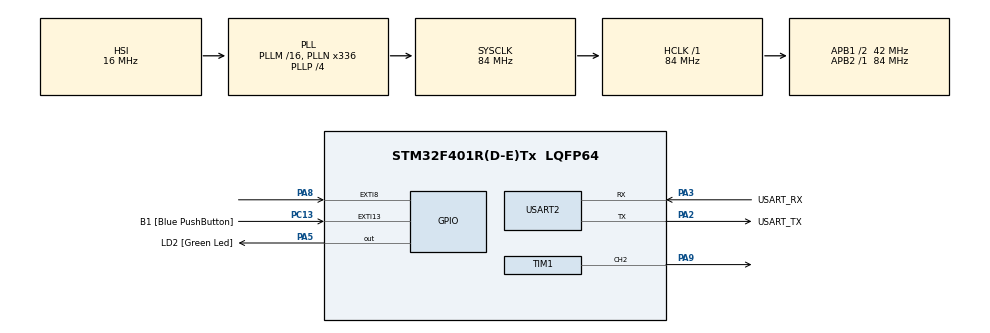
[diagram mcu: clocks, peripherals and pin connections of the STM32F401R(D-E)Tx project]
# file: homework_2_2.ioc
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Mcu.Family=STM32F4
Mcu.Name=STM32F401R(D-E)Tx
Mcu.Package=LQFP64
NVIC.EXTI9_5_IRQn=true\:0\:0\:false\:false\:true\:true\:true\:true
NVIC.PriorityGroup=NVIC_PRIORITYGROUP_0
NVIC.TIM2_IRQn=true\:0\:0\:false\:false\:true\:true\:true\:true
PA13.GPIO_Label=TMS
PA13.Mode=Serial_Wire
PA13.Signal=SYS_JTMS-SWDIO
PA14.GPIO_Label=TCK
PA14.Mode=Serial_Wire
PA14.Signal=SYS_JTCK-SWCLK
PA2.GPIO_Label=USART_TX
PA2.GPIO_Mode=GPIO_MODE_AF_PP
PA2.GPIO_PuPd=GPIO_NOPULL
PA2.GPIO_Speed=GPIO_SPEED_FREQ_LOW
PA2.Mode=Asynchronous
PA2.Signal=USART2_TX
PA3.GPIO_Label=USART_RX
PA3.GPIO_Mode=GPIO_MODE_AF_PP
PA3.GPIO_PuPd=GPIO_NOPULL
PA3.GPIO_Speed=GPIO_SPEED_FREQ_LOW
PA3.Mode=Asynchronous
PA3.Signal=USART2_RX
PA5.GPIO_Label=LD2 [Green Led]
PA5.GPIO_Mode=GPIO_MODE_OUTPUT_PP
PA5.GPIO_PuPd=GPIO_NOPULL
PA5.GPIO_Speed=GPIO_SPEED_FREQ_LOW
PA5.Signal=GPIO_Output
PA8.Signal=GPXTI8
PA9.Signal=S_TIM1_CH2
PB3.GPIO_Label=SWO
PB3.Signal=SYS_JTDO-SWO
PC13-ANTI_TAMP.GPIO_Label=B1 [Blue PushButton]
PC13-ANTI_TAMP.GPIO_ModeDefaultEXTI=GPIO_MODE_IT_FALLING
PC13-ANTI_TAMP.GPIO_PuPd=GPIO_NOPULL
PC13-ANTI_TAMP.Signal=GPXTI13
PC14-OSC32_IN.Mode=LSE-External-Oscillator
PC14-OSC32_IN.Signal=RCC_OSC32_IN
PC15-OSC32_OUT.Mode=LSE-External-Oscillator
PC15-OSC32_OUT.Signal=RCC_OSC32_OUT
PH0\ -\ OSC_IN.Mode=HSE-External-Clock-Source
PH0\ -\ OSC_IN.Signal=RCC_OSC_IN
PH1\ -\ OSC_OUT.Mode=HSE-External-Clock-Source
PH1\ -\ OSC_OUT.Signal=RCC_OSC_OUT
ProjectManager.HeapSize=0x200
ProjectManager.StackSize=0x400
ProjectManager.TargetToolchain=STM32CubeIDE
RCC.48MHZClocksFreq_Value=48000000
RCC.AHBFreq_Value=84000000
RCC.APB1CLKDivider=RCC_HCLK_DIV2
RCC.APB1Freq_Value=42000000
RCC.APB1TimFreq_Value=84000000
RCC.APB2Freq_Value=84000000
RCC.APB2TimFreq_Value=84000000
RCC.CortexFreq_Value=84000000
RCC.HCLKFreq_Value=84000000
RCC.HSE_VALUE=8000000
RCC.HSI_VALUE=16000000
RCC.PLLN=336
RCC.PLLP=RCC_PLLP_DIV4
RCC.PLLQ=7
RCC.SYSCLKFreq_VALUE=84000000
RCC.SYSCLKSource=RCC_SYSCLKSOURCE_PLLCLK
RCC.VCOOutputFreq_Value=336000000
SH.S_TIM1_CH2.0=TIM1_CH2,PWM Generation2 CH2
TIM1.Channel-PWM\ Generation2\ CH2=TIM_CHANNEL_2
TIM1.Period=1908
TIM1.Prescaler=99
TIM1.Pulse-PWM\ Generation2\ CH2=954
TIM2.Period=84000
USART2.VirtualMode=VM_ASYNC
VP_TIM2_VS_ClockSourceINT.Mode=Internal
board=NUCLEO-F401RE

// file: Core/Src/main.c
/* USER CODE BEGIN Header */
/**
  ******************************************************************************
  * @file           : main.c
  * @brief          : Main program body
  ******************************************************************************
  * @attention
  *
  * Copyright (c) 2022 STMicroelectronics.
  * All rights reserved.
  *
  * This software is licensed under terms that can be found in the LICENSE file
  * in the root directory of this software component.
  * If no LICENSE file comes with this software, it is provided AS-IS.
  *
  ******************************************************************************
  */
/* USER CODE END Header */
#include "main.h"

/* USER CODE BEGIN PTD */
struct note{
  int tone_Period;
  int tone_Pulse;
  int duration;
};

typedef enum {false, true} bool;
/* USER CODE END PTD */

/* USER CODE BEGIN PD */
#define _DO     3205, 1602
#define _DO_D   3031, 1515
#define _RE     2856, 1428
#define _RE_D   2700, 1349
#define _MI     2544, 1272
#define _FA     2406, 1202
#define _FA_D   2269, 1134
#define _SOL    2142, 1070
#define _SOL_D  2023, 1011
#define _LA     1908, 954
#define _LA_D   1802, 900
#define _SI     1699, 849
#define STD_DURATION 1200                   //CHANGE THIS PARAMETER IF NEEDED
/* USER CODE END PD */

TIM_HandleTypeDef htim1;
TIM_HandleTypeDef htim2;

UART_HandleTypeDef huart2;

/* USER CODE BEGIN PV */
struct note spartito[/*undefined*/]={       //PUT HERE EACH NOTE OF YOUR SONG

  {_SOL, STD_DURATION/4+STD_DURATION/8},
  {_LA, STD_DURATION/8},
  {_SOL, STD_DURATION/4},
  {_FA, STD_DURATION/4},

  {_MI, STD_DURATION/4},
  {_FA, STD_DURATION/4},
  {_SOL, STD_DURATION/2},

  {_RE, STD_DURATION/4},
  {_MI, STD_DURATION/4},
  {_FA, STD_DURATION/2},

  {_MI, STD_DURATION/4},
  {_FA, STD_DURATION/4},
  {_SOL, STD_DURATION/2},

  {_SOL, STD_DURATION/4+STD_DURATION/8},
  {_LA, STD_DURATION/8},
  {_SOL, STD_DURATION/4},
  {_FA, STD_DURATION/4},

  {_MI, STD_DURATION/4},
  {_FA, STD_DURATION/4},
  {_SOL, STD_DURATION/2},

  {_RE, STD_DURATION/2},
  {_SOL, STD_DURATION/2},

  {_MI, STD_DURATION/4},
  {_DO, STD_DURATION/2+STD_DURATION/4}

};

int length_spartito = sizeof(spartito)/sizeof(spartito[0]);
int ms_elapsed = 0;
bool GO_FLAG = false;
bool STARTUP_OVERFLOW = true;               //every timer startup causes immediate overflow
/* USER CODE END PV */

void SystemClock_Config(void);
static void MX_GPIO_Init(void);
static void MX_USART2_UART_Init(void);
static void MX_TIM1_Init(void);
static void MX_TIM2_Init(void);

/* USER CODE BEGIN 0 */
void melody(struct note note_to_play){
  __HAL_TIM_SET_AUTORELOAD(&htim1, note_to_play.tone_Period);
  __HAL_TIM_SET_COMPARE(&htim1, TIM_CHANNEL_2, note_to_play.tone_Pulse);
  __HAL_TIM_SET_COUNTER(&htim1, 0);
  HAL_TIM_PWM_Start(&htim1, TIM_CHANNEL_2);

  //HAL_Delay(note_to_play.duration);
  ms_elapsed=0;
  __HAL_TIM_SET_COUNTER(&htim2, 0);
  HAL_TIM_Base_Start_IT(&htim2);
  while(ms_elapsed<note_to_play.duration){
    //do nothing
  }
  HAL_TIM_Base_Stop_IT(&htim2);
  STARTUP_OVERFLOW=true;

  HAL_TIM_PWM_Stop(&htim1, TIM_CHANNEL_2);
}

void HAL_GPIO_EXTI_Callback(uint16_t INPUT_Pin){
  if(INPUT_Pin==GPIO_PIN_8){
    GO_FLAG=true;
  }
}

void HAL_TIM_PeriodElapsedCallback(TIM_HandleTypeDef *calling_timer){
  if(calling_timer==&htim2){
    if(STARTUP_OVERFLOW==true){
      STARTUP_OVERFLOW=false;
    }
    else{
      ms_elapsed++;
    }
  }
}

/* USER CODE END 0 */

int main(void)
{
  /* USER CODE BEGIN 1 */
  int i=0;
  /* USER CODE END 1 */

  /* MCU Configuration--------------------------------------------------------*/

  /* Reset of all peripherals, Initializes the Flash interface and the Systick. */
  HAL_Init();

  /* Configure the system clock */
  SystemClock_Config();

  /* Initialize all configured peripherals */
  MX_GPIO_Init();
  MX_USART2_UART_Init();
  MX_TIM1_Init();
  MX_TIM2_Init();

  /* Infinite loop */
  /* USER CODE BEGIN WHILE */
  while (1)
  {
    if(GO_FLAG==true){
      while(i<length_spartito){
        melody(spartito[i]);
        i++;
      }
      i=0;

      //HAL_Delay(3000);
      ms_elapsed=0;
      __HAL_TIM_SET_COUNTER(&htim2, 0);
      HAL_TIM_Base_Start_IT(&htim2);
      while(ms_elapsed<3000){
        //do nothing
      }
      HAL_TIM_Base_Stop_IT(&htim2);
      STARTUP_OVERFLOW=true;

      GO_FLAG=false;
    }
    /* USER CODE END WHILE */

  }
}

void SystemClock_Config(void)
{
  RCC_OscInitTypeDef RCC_OscInitStruct = {0};
  RCC_ClkInitTypeDef RCC_ClkInitStruct = {0};

  /** Configure the main internal regulator output voltage
  */
  __HAL_RCC_PWR_CLK_ENABLE();
  __HAL_PWR_VOLTAGESCALING_CONFIG(PWR_REGULATOR_VOLTAGE_SCALE2);

  /** Initializes the RCC Oscillators according to the specified parameters
  * in the RCC_OscInitTypeDef structure.
  */
  RCC_OscInitStruct.OscillatorType = RCC_OSCILLATORTYPE_HSI;
  RCC_OscInitStruct.HSIState = RCC_HSI_ON;
  RCC_OscInitStruct.HSICalibrationValue = RCC_HSICALIBRATION_DEFAULT;
  RCC_OscInitStruct.PLL.PLLState = RCC_PLL_ON;
  RCC_OscInitStruct.PLL.PLLSource = RCC_PLLSOURCE_HSI;
  RCC_OscInitStruct.PLL.PLLM = 16;
  RCC_OscInitStruct.PLL.PLLN = 336;
  RCC_OscInitStruct.PLL.PLLP = RCC_PLLP_DIV4;
  RCC_OscInitStruct.PLL.PLLQ = 7;
  if (HAL_RCC_OscConfig(&RCC_OscInitStruct) != HAL_OK)
  {
    Error_Handler();
  }

  /** Initializes the CPU, AHB and APB buses clocks
  */
  RCC_ClkInitStruct.ClockType = RCC_CLOCKTYPE_HCLK|RCC_CLOCKTYPE_SYSCLK
                              |RCC_CLOCKTYPE_PCLK1|RCC_CLOCKTYPE_PCLK2;
  RCC_ClkInitStruct.SYSCLKSource = RCC_SYSCLKSOURCE_PLLCLK;
  RCC_ClkInitStruct.AHBCLKDivider = RCC_SYSCLK_DIV1;
  RCC_ClkInitStruct.APB1CLKDivider = RCC_HCLK_DIV2;
  RCC_ClkInitStruct.APB2CLKDivider = RCC_HCLK_DIV1;

  if (HAL_RCC_ClockConfig(&RCC_ClkInitStruct, FLASH_LATENCY_2) != HAL_OK)
  {
    Error_Handler();
  }
}

static void MX_TIM1_Init(void)
{

  TIM_MasterConfigTypeDef sMasterConfig = {0};
  TIM_OC_InitTypeDef sConfigOC = {0};
  TIM_BreakDeadTimeConfigTypeDef sBreakDeadTimeConfig = {0};

  htim1.Instance = TIM1;
  htim1.Init.Prescaler = 99;
  htim1.Init.CounterMode = TIM_COUNTERMODE_UP;
  htim1.Init.Period = 1908;
  htim1.Init.ClockDivision = TIM_CLOCKDIVISION_DIV1;
  htim1.Init.RepetitionCounter = 0;
  htim1.Init.AutoReloadPreload = TIM_AUTORELOAD_PRELOAD_DISABLE;
  if (HAL_TIM_PWM_Init(&htim1) != HAL_OK)
  {
    Error_Handler();
  }
  sMasterConfig.MasterOutputTrigger = TIM_TRGO_RESET;
  sMasterConfig.MasterSlaveMode = TIM_MASTERSLAVEMODE_DISABLE;
  if (HAL_TIMEx_MasterConfigSynchronization(&htim1, &sMasterConfig) != HAL_OK)
  {
    Error_Handler();
  }
  sConfigOC.OCMode = TIM_OCMODE_PWM1;
  sConfigOC.Pulse = 954;
  sConfigOC.OCPolarity = TIM_OCPOLARITY_HIGH;
  sConfigOC.OCNPolarity = TIM_OCNPOLARITY_HIGH;
  sConfigOC.OCFastMode = TIM_OCFAST_DISABLE;
  sConfigOC.OCIdleState = TIM_OCIDLESTATE_RESET;
  sConfigOC.OCNIdleState = TIM_OCNIDLESTATE_RESET;
  if (HAL_TIM_PWM_ConfigChannel(&htim1, &sConfigOC, TIM_CHANNEL_2) != HAL_OK)
  {
    Error_Handler();
  }
  sBreakDeadTimeConfig.OffStateRunMode = TIM_OSSR_DISABLE;
  sBreakDeadTimeConfig.OffStateIDLEMode = TIM_OSSI_DISABLE;
  sBreakDeadTimeConfig.LockLevel = TIM_LOCKLEVEL_OFF;
  sBreakDeadTimeConfig.DeadTime = 0;
  sBreakDeadTimeConfig.BreakState = TIM_BREAK_DISABLE;
  sBreakDeadTimeConfig.BreakPolarity = TIM_BREAKPOLARITY_HIGH;
  sBreakDeadTimeConfig.AutomaticOutput = TIM_AUTOMATICOUTPUT_DISABLE;
  if (HAL_TIMEx_ConfigBreakDeadTime(&htim1, &sBreakDeadTimeConfig) != HAL_OK)
  {
    Error_Handler();
  }
  HAL_TIM_MspPostInit(&htim1);

}

static void MX_TIM2_Init(void)
{

  TIM_ClockConfigTypeDef sClockSourceConfig = {0};
  TIM_MasterConfigTypeDef sMasterConfig = {0};

  htim2.Instance = TIM2;
  htim2.Init.Prescaler = 0;
  htim2.Init.CounterMode = TIM_COUNTERMODE_UP;
  htim2.Init.Period = 84000;
  htim2.Init.ClockDivision = TIM_CLOCKDIVISION_DIV1;
  htim2.Init.AutoReloadPreload = TIM_AUTORELOAD_PRELOAD_DISABLE;
  if (HAL_TIM_Base_Init(&htim2) != HAL_OK)
  {
    Error_Handler();
  }
  sClockSourceConfig.ClockSource = TIM_CLOCKSOURCE_INTERNAL;
  if (HAL_TIM_ConfigClockSource(&htim2, &sClockSourceConfig) != HAL_OK)
  {
    Error_Handler();
  }
  sMasterConfig.MasterOutputTrigger = TIM_TRGO_RESET;
  sMasterConfig.MasterSlaveMode = TIM_MASTERSLAVEMODE_DISABLE;
  if (HAL_TIMEx_MasterConfigSynchronization(&htim2, &sMasterConfig) != HAL_OK)
  {
    Error_Handler();
  }

}

static void MX_USART2_UART_Init(void)
{

  huart2.Instance = USART2;
  huart2.Init.BaudRate = 115200;
  huart2.Init.WordLength = UART_WORDLENGTH_8B;
  huart2.Init.StopBits = UART_STOPBITS_1;
  huart2.Init.Parity = UART_PARITY_NONE;
  huart2.Init.Mode = UART_MODE_TX_RX;
  huart2.Init.HwFlowCtl = UART_HWCONTROL_NONE;
  huart2.Init.OverSampling = UART_OVERSAMPLING_16;
  if (HAL_UART_Init(&huart2) != HAL_OK)
  {
    Error_Handler();
  }

}

static void MX_GPIO_Init(void)
{
  GPIO_InitTypeDef GPIO_InitStruct = {0};

  /* GPIO Ports Clock Enable */
  __HAL_RCC_GPIOC_CLK_ENABLE();
  __HAL_RCC_GPIOH_CLK_ENABLE();
  __HAL_RCC_GPIOA_CLK_ENABLE();
  __HAL_RCC_GPIOB_CLK_ENABLE();

  /*Configure GPIO pin Output Level */
  HAL_GPIO_WritePin(LD2_GPIO_Port, LD2_Pin, GPIO_PIN_RESET);

  /*Configure GPIO pin : B1_Pin */
  GPIO_InitStruct.Pin = B1_Pin;
  GPIO_InitStruct.Mode = GPIO_MODE_IT_FALLING;
  GPIO_InitStruct.Pull = GPIO_NOPULL;
  HAL_GPIO_Init(B1_GPIO_Port, &GPIO_InitStruct);

  /*Configure GPIO pin : LD2_Pin */
  GPIO_InitStruct.Pin = LD2_Pin;
  GPIO_InitStruct.Mode = GPIO_MODE_OUTPUT_PP;
  GPIO_InitStruct.Pull = GPIO_NOPULL;
  GPIO_InitStruct.Speed = GPIO_SPEED_FREQ_LOW;
  HAL_GPIO_Init(LD2_GPIO_Port, &GPIO_InitStruct);

  /*Configure GPIO pin : PA8 */
  GPIO_InitStruct.Pin = GPIO_PIN_8;
  GPIO_InitStruct.Mode = GPIO_MODE_IT_RISING;
  GPIO_InitStruct.Pull = GPIO_NOPULL;
  HAL_GPIO_Init(GPIOA, &GPIO_InitStruct);

  /* EXTI interrupt init*/
  HAL_NVIC_SetPriority(EXTI9_5_IRQn, 0, 0);
  HAL_NVIC_EnableIRQ(EXTI9_5_IRQn);

}

void Error_Handler(void)
{
  __disable_irq();
  while (1)
  {
  }
}
